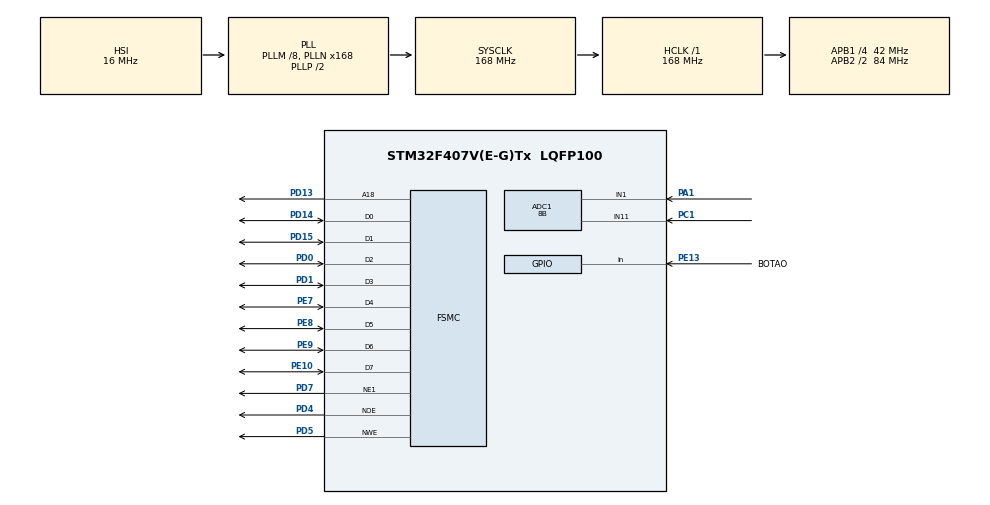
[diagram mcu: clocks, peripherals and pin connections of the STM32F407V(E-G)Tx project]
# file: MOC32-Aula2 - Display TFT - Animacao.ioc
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ADC1.Channel-2\#ChannelRegularConversion=ADC_CHANNEL_1
ADC1.Channel-4\#ChannelRegularConversion=ADC_CHANNEL_11
ADC1.ClockPrescaler=ADC_CLOCK_SYNC_PCLK_DIV4
ADC1.NbrOfConversion=2
ADC1.NbrOfConversionFlag=1
ADC1.Rank-2\#ChannelRegularConversion=1
ADC1.Rank-4\#ChannelRegularConversion=2
ADC1.Resolution=ADC_RESOLUTION_8B
ADC1.SamplingTime-2\#ChannelRegularConversion=ADC_SAMPLETIME_480CYCLES
ADC1.SamplingTime-4\#ChannelRegularConversion=ADC_SAMPLETIME_480CYCLES
ADC1.master=1
FSMC.AddressSetupTime1=6
FSMC.BusTurnAroundDuration1=15
FSMC.DataSetupTime1=6
Mcu.Family=STM32F4
Mcu.Name=STM32F407V(E-G)Tx
Mcu.Package=LQFP100
NVIC.PriorityGroup=NVIC_PRIORITYGROUP_4
PA1.Signal=ADCx_IN1
PC1.Signal=ADCx_IN11
PD0.Mode=8b-d1
PD0.Signal=FSMC_D2
PD1.Mode=8b-d1
PD1.Signal=FSMC_D3
PD13.Mode=A18_1
PD13.Signal=FSMC_A18
PD14.Mode=8b-d1
PD14.Signal=FSMC_D0
PD15.Mode=8b-d1
PD15.Signal=FSMC_D1
PD4.Mode=Lcd1
PD4.Signal=FSMC_NOE
PD5.Mode=Lcd1
PD5.Signal=FSMC_NWE
PD7.Mode=NorPsramChipSelect1_1
PD7.Signal=FSMC_NE1
PE10.Mode=8b-d1
PE10.Signal=FSMC_D7
PE13.GPIO_Label=BOTAO
PE13.GPIO_PuPd=GPIO_PULLUP
PE13.Signal=GPIO_Input
PE7.Mode=8b-d1
PE7.Signal=FSMC_D4
PE8.Mode=8b-d1
PE8.Signal=FSMC_D5
PE9.Mode=8b-d1
PE9.Signal=FSMC_D6
PH0-OSC_IN.Mode=HSE-External-Oscillator
PH0-OSC_IN.Signal=RCC_OSC_IN
PH1-OSC_OUT.Mode=HSE-External-Oscillator
PH1-OSC_OUT.Signal=RCC_OSC_OUT
ProjectManager.HeapSize=0x200
ProjectManager.StackSize=0x400
ProjectManager.TargetToolchain=STM32CubeIDE
RCC.48MHZClocksFreq_Value=84000000
RCC.AHBFreq_Value=168000000
RCC.APB1CLKDivider=RCC_HCLK_DIV4
RCC.APB1Freq_Value=42000000
RCC.APB1TimFreq_Value=84000000
RCC.APB2CLKDivider=RCC_HCLK_DIV2
RCC.APB2Freq_Value=84000000
RCC.APB2TimFreq_Value=168000000
RCC.CortexFreq_Value=168000000
RCC.HCLKFreq_Value=168000000
RCC.HSE_VALUE=8000000
RCC.HSI_VALUE=16000000
RCC.LSE_VALUE=32768
RCC.PLLM=8
RCC.PLLN=168
RCC.SYSCLKFreq_VALUE=168000000
RCC.SYSCLKSource=RCC_SYSCLKSOURCE_PLLCLK
RCC.VCOOutputFreq_Value=336000000
SH.ADCx_IN1.0=ADC1_IN1,IN1
SH.ADCx_IN11.0=ADC1_IN11,IN11
board=custom

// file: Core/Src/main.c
/* USER CODE BEGIN Header */
/**
  ******************************************************************************
  * @file           : main.c
  * @brief          : Main program body
  ******************************************************************************
  * @attention
  *
  * Copyright (c) 2023 STMicroelectronics.
  * All rights reserved.
  *
  * This software is licensed under terms that can be found in the LICENSE file
  * in the root directory of this software component.
  * If no LICENSE file comes with this software, it is provided AS-IS.
  *
  ******************************************************************************
  */
/* USER CODE END Header */
#include "main.h"

/* USER CODE BEGIN Includes */
#include "ili9341.h"
#include "common.h"
#include "fonts.h"
#include "lcd.h"
#include "math.h"
#include <stdbool.h>

/* USER CODE END Includes */

ADC_HandleTypeDef hadc1;

SRAM_HandleTypeDef hsram1;

/* USER CODE BEGIN PV */
extern const unsigned short _0[76800];
extern const unsigned short _1[76800];
extern const unsigned short _2[76800];
extern const unsigned short _3[76800];
extern const unsigned short _4[76800];
extern const unsigned short _5[76800];
extern const unsigned short _6[76800];
extern const unsigned short _7[76800];
extern const unsigned short _8[76800];
extern const unsigned short _9[76800];
/* USER CODE END PV */

void SystemClock_Config(void);
static void MX_GPIO_Init(void);
static void MX_ADC1_Init(void);
static void MX_FSMC_Init(void);

int main(void)
{

  /* MCU Configuration--------------------------------------------------------*/

  /* Reset of all peripherals, Initializes the Flash interface and the Systick. */
  HAL_Init();

  /* Configure the system clock */
  SystemClock_Config();

  /* Initialize all configured peripherals */
  MX_GPIO_Init();
  MX_ADC1_Init();
  MX_FSMC_Init();
  /* USER CODE BEGIN 2 */
  ili9341_Init();
  //void setRotation(uint8_t r);

  /* USER CODE END 2 */

  /* Infinite loop */
  while (1)
  {

    /* USER CODE BEGIN 3 */
	  ili9341_DrawRGBImage(0, 0, 240, 320, _0);
	  HAL_Delay(16);
	  ili9341_DrawRGBImage(0, 0, 240, 320, _1);
	  HAL_Delay(16);
	  ili9341_DrawRGBImage(0, 0, 240, 320, _2);
	  HAL_Delay(16);
	  ili9341_DrawRGBImage(0, 0, 240, 320, _3);
	  HAL_Delay(16);
	  ili9341_DrawRGBImage(0, 0, 240, 320, _4);
	  HAL_Delay(16);
	  ili9341_DrawRGBImage(0, 0, 240, 320, _5);
	  HAL_Delay(16);
//	  ili9341_DrawRGBImage(0, 0, 240, 320, _6);
//	  ili9341_DrawRGBImage(0, 0, 240, 320, _7);
//	  ili9341_DrawRGBImage(0, 0, 240, 320, _8);
//	  ili9341_DrawRGBImage(0, 0, 240, 320, _9);
  }
  /* USER CODE END 3 */
}

void SystemClock_Config(void)
{
  RCC_OscInitTypeDef RCC_OscInitStruct = {0};
  RCC_ClkInitTypeDef RCC_ClkInitStruct = {0};

  /** Configure the main internal regulator output voltage
  */
  __HAL_RCC_PWR_CLK_ENABLE();
  __HAL_PWR_VOLTAGESCALING_CONFIG(PWR_REGULATOR_VOLTAGE_SCALE1);

  /** Initializes the RCC Oscillators according to the specified parameters
  * in the RCC_OscInitTypeDef structure.
  */
  RCC_OscInitStruct.OscillatorType = RCC_OSCILLATORTYPE_HSI;
  RCC_OscInitStruct.HSIState = RCC_HSI_ON;
  RCC_OscInitStruct.HSICalibrationValue = RCC_HSICALIBRATION_DEFAULT;
  RCC_OscInitStruct.PLL.PLLState = RCC_PLL_ON;
  RCC_OscInitStruct.PLL.PLLSource = RCC_PLLSOURCE_HSI;
  RCC_OscInitStruct.PLL.PLLM = 8;
  RCC_OscInitStruct.PLL.PLLN = 168;
  RCC_OscInitStruct.PLL.PLLP = RCC_PLLP_DIV2;
  RCC_OscInitStruct.PLL.PLLQ = 4;
  if (HAL_RCC_OscConfig(&RCC_OscInitStruct) != HAL_OK)
  {
    Error_Handler();
  }

  /** Initializes the CPU, AHB and APB buses clocks
  */
  RCC_ClkInitStruct.ClockType = RCC_CLOCKTYPE_HCLK|RCC_CLOCKTYPE_SYSCLK
                              |RCC_CLOCKTYPE_PCLK1|RCC_CLOCKTYPE_PCLK2;
  RCC_ClkInitStruct.SYSCLKSource = RCC_SYSCLKSOURCE_PLLCLK;
  RCC_ClkInitStruct.AHBCLKDivider = RCC_SYSCLK_DIV1;
  RCC_ClkInitStruct.APB1CLKDivider = RCC_HCLK_DIV4;
  RCC_ClkInitStruct.APB2CLKDivider = RCC_HCLK_DIV2;

  if (HAL_RCC_ClockConfig(&RCC_ClkInitStruct, FLASH_LATENCY_5) != HAL_OK)
  {
    Error_Handler();
  }
}

static void MX_ADC1_Init(void)
{

  ADC_ChannelConfTypeDef sConfig = {0};

  /** Configure the global features of the ADC (Clock, Resolution, Data Alignment and number of conversion)
  */
  hadc1.Instance = ADC1;
  hadc1.Init.ClockPrescaler = ADC_CLOCK_SYNC_PCLK_DIV4;
  hadc1.Init.Resolution = ADC_RESOLUTION_8B;
  hadc1.Init.ScanConvMode = ENABLE;
  hadc1.Init.ContinuousConvMode = DISABLE;
  hadc1.Init.DiscontinuousConvMode = DISABLE;
  hadc1.Init.ExternalTrigConvEdge = ADC_EXTERNALTRIGCONVEDGE_NONE;
  hadc1.Init.ExternalTrigConv = ADC_SOFTWARE_START;
  hadc1.Init.DataAlign = ADC_DATAALIGN_RIGHT;
  hadc1.Init.NbrOfConversion = 2;
  hadc1.Init.DMAContinuousRequests = DISABLE;
  hadc1.Init.EOCSelection = ADC_EOC_SINGLE_CONV;
  if (HAL_ADC_Init(&hadc1) != HAL_OK)
  {
    Error_Handler();
  }

  /** Configure for the selected ADC regular channel its corresponding rank in the sequencer and its sample time.
  */
  sConfig.Channel = ADC_CHANNEL_1;
  sConfig.Rank = 1;
  sConfig.SamplingTime = ADC_SAMPLETIME_480CYCLES;
  if (HAL_ADC_ConfigChannel(&hadc1, &sConfig) != HAL_OK)
  {
    Error_Handler();
  }

  /** Configure for the selected ADC regular channel its corresponding rank in the sequencer and its sample time.
  */
  sConfig.Channel = ADC_CHANNEL_11;
  sConfig.Rank = 2;
  if (HAL_ADC_ConfigChannel(&hadc1, &sConfig) != HAL_OK)
  {
    Error_Handler();
  }

}

static void MX_GPIO_Init(void)
{
  GPIO_InitTypeDef GPIO_InitStruct = {0};

  /* GPIO Ports Clock Enable */
  __HAL_RCC_GPIOH_CLK_ENABLE();
  __HAL_RCC_GPIOC_CLK_ENABLE();
  __HAL_RCC_GPIOA_CLK_ENABLE();
  __HAL_RCC_GPIOE_CLK_ENABLE();
  __HAL_RCC_GPIOD_CLK_ENABLE();

  /*Configure GPIO pin : BOTAO_Pin */
  GPIO_InitStruct.Pin = BOTAO_Pin;
  GPIO_InitStruct.Mode = GPIO_MODE_INPUT;
  GPIO_InitStruct.Pull = GPIO_PULLUP;
  HAL_GPIO_Init(BOTAO_GPIO_Port, &GPIO_InitStruct);

}

/* FSMC initialization function */
static void MX_FSMC_Init(void)
{

  FSMC_NORSRAM_TimingTypeDef Timing = {0};

  /** Perform the SRAM1 memory initialization sequence
  */
  hsram1.Instance = FSMC_NORSRAM_DEVICE;
  hsram1.Extended = FSMC_NORSRAM_EXTENDED_DEVICE;
  /* hsram1.Init */
  hsram1.Init.NSBank = FSMC_NORSRAM_BANK1;
  hsram1.Init.DataAddressMux = FSMC_DATA_ADDRESS_MUX_DISABLE;
  hsram1.Init.MemoryType = FSMC_MEMORY_TYPE_SRAM;
  hsram1.Init.MemoryDataWidth = FSMC_NORSRAM_MEM_BUS_WIDTH_8;
  hsram1.Init.BurstAccessMode = FSMC_BURST_ACCESS_MODE_DISABLE;
  hsram1.Init.WaitSignalPolarity = FSMC_WAIT_SIGNAL_POLARITY_LOW;
  hsram1.Init.WrapMode = FSMC_WRAP_MODE_DISABLE;
  hsram1.Init.WaitSignalActive = FSMC_WAIT_TIMING_BEFORE_WS;
  hsram1.Init.WriteOperation = FSMC_WRITE_OPERATION_ENABLE;
  hsram1.Init.WaitSignal = FSMC_WAIT_SIGNAL_DISABLE;
  hsram1.Init.ExtendedMode = FSMC_EXTENDED_MODE_DISABLE;
  hsram1.Init.AsynchronousWait = FSMC_ASYNCHRONOUS_WAIT_DISABLE;
  hsram1.Init.WriteBurst = FSMC_WRITE_BURST_DISABLE;
  hsram1.Init.PageSize = FSMC_PAGE_SIZE_NONE;
  /* Timing */
  Timing.AddressSetupTime = 6;
  Timing.AddressHoldTime = 15;
  Timing.DataSetupTime = 6;
  Timing.BusTurnAroundDuration = 15;
  Timing.CLKDivision = 16;
  Timing.DataLatency = 17;
  Timing.AccessMode = FSMC_ACCESS_MODE_A;
  /* ExtTiming */

  if (HAL_SRAM_Init(&hsram1, &Timing, NULL) != HAL_OK)
  {
    Error_Handler( );
  }

}

void Error_Handler(void)
{
  __disable_irq();
  while (1)
  {
  }
}
